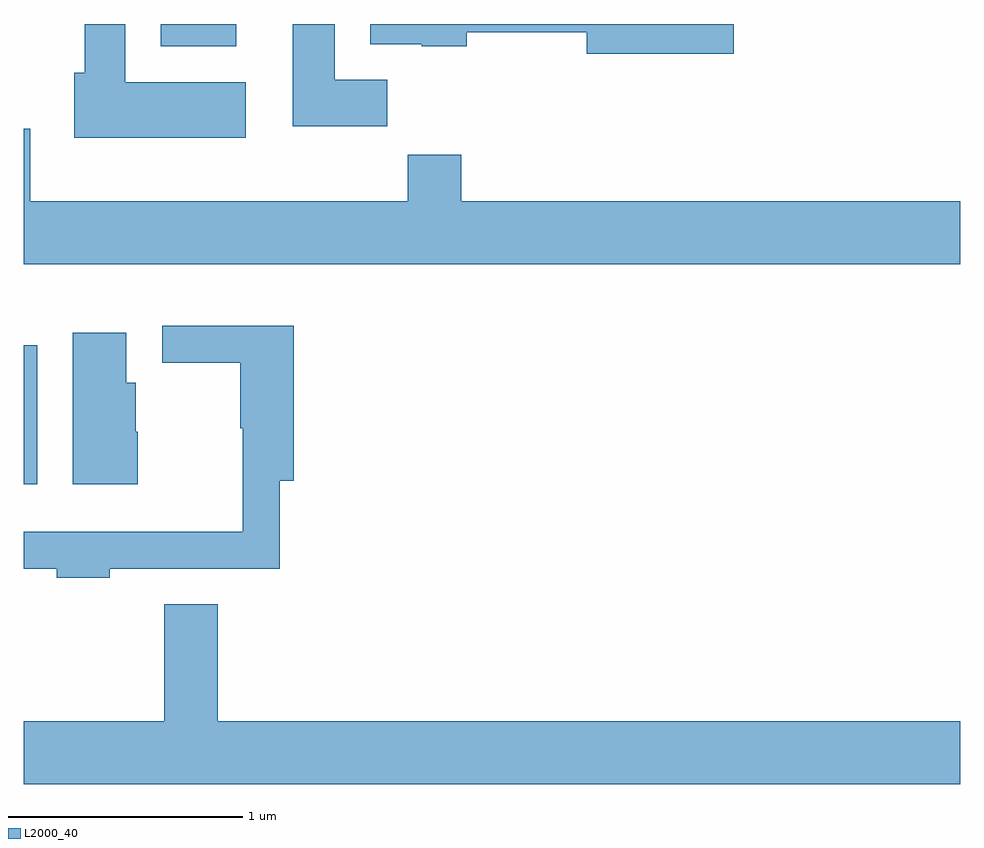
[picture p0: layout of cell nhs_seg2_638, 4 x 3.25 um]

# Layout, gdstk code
import gdstk
lib = gdstk.Library(unit=1e-6, precision=1e-09)
def R(c, l, rs):  # rectangles x0, y0, x1, y1
    for r in rs: c.add(gdstk.rectangle(r[:2], r[2:], *l))
def P(c, l, *ps):  # polygons
    for p in ps: c.add(gdstk.Polygon(p, *l))
L2000_40 = (2000, 40)

nhs_seg2_638 = lib.new_cell('nhs_seg2_638')
R(nhs_seg2_638, L2000_40, [(203.611,1031.836,203.669,1032.429), (204.196,1033.706,204.519,1033.802)])
P(nhs_seg2_638, L2000_40, [(206.644,1033.802),(205.091,1033.802),(205.091,1033.716),(205.31,1033.716),(205.31,1033.706),(205.504,1033.706),(205.504,1033.766),(206.016,1033.766),(206.016,1033.676),(206.644,1033.676)],
  [(204.559,1033.554),(204.044,1033.554),(204.044,1033.802),(203.871,1033.802),(203.871,1033.594),(203.826,1033.594),(203.826,1033.316),(204.559,1033.316)],
  [(205.164,1033.564),(204.939,1033.564),(204.939,1033.802),(204.761,1033.802),(204.761,1033.366),(205.164,1033.366)],
  [(207.611,1033.044),(205.479,1033.044),(205.479,1033.244),(205.251,1033.244),(205.251,1033.044),(203.639,1033.044),(203.639,1033.354),(203.611,1033.354),(203.611,1032.776),(207.611,1032.776)],
  [(203.979,1031.476),(204.704,1031.476),(204.704,1031.851),(204.764,1031.851),(204.764,1032.514),(204.203,1032.514),(204.203,1032.356),(204.536,1032.356),(204.536,1032.075),(204.546,1032.075),(204.546,1031.634),(203.611,1031.634),(203.611,1031.476),(203.751,1031.476),(203.751,1031.436),(203.979,1031.436)],
  [(204.099,1032.06),(204.089,1032.06),(204.089,1032.269),(204.049,1032.269),(204.049,1032.484),(203.821,1032.484),(203.821,1031.836),(204.099,1031.836)],
  [(207.611,1030.824),(204.439,1030.824),(204.439,1031.324),(204.211,1031.324),(204.211,1030.824),(203.611,1030.824),(203.611,1030.556),(207.611,1030.556)])

lib.write_gds('nhs_seg2_638.gds')
